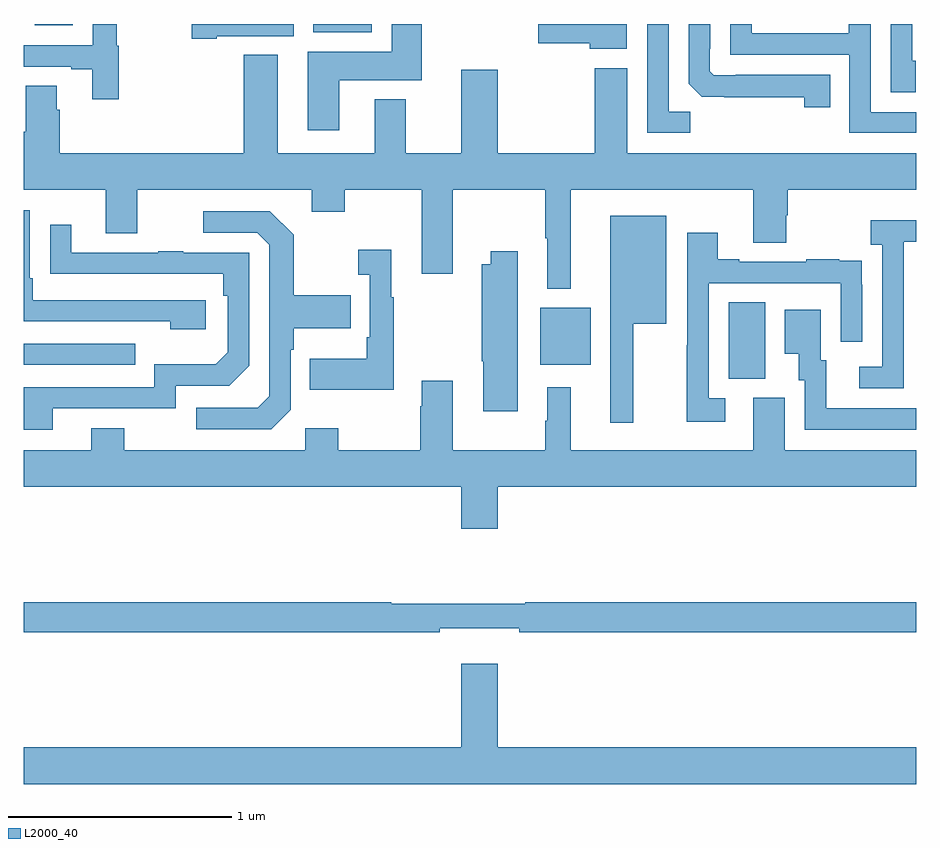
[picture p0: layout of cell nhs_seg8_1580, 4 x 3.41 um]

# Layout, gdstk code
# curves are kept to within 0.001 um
import gdstk
lib = gdstk.Library(unit=1e-6, precision=1e-09)
def R(c, l, rs):  # rectangles x0, y0, x1, y1
    for r in rs: c.add(gdstk.rectangle(r[:2], r[2:], *l))
def P(c, l, *ps):  # polygons
    for p in ps: c.add(gdstk.Polygon(p, *l))
L2000_40 = (2000, 40)

nhs_seg8_1580 = lib.new_cell('nhs_seg8_1580')
R(nhs_seg8_1580, L2000_40, [(214.16,1126.309,214.324,1126.652), (211,1126.371,211.499,1126.467), (213.314,1126.373,213.541,1126.627), (212.297,1127.864,212.56,1127.9), (211.049,1127.894,211.219,1127.9)])
P(nhs_seg8_1580, L2000_40, [(212.413,1127.648),(212.783,1127.648),(212.783,1127.9),(212.648,1127.9),(212.648,1127.776),(212.273,1127.776),(212.273,1127.424),(212.413,1127.424)],
  [(214.998,1127.736),(214.983,1127.736),(214.983,1127.9),(214.887,1127.9),(214.887,1127.593),(214.998,1127.593)],
  [(213.703,1127.9),(213.306,1127.9),(213.306,1127.813),(213.536,1127.813),(213.536,1127.789),(213.703,1127.789)],
  [(211.864,1127.846),(212.209,1127.846),(212.209,1127.9),(211.752,1127.9),(211.752,1127.834),(211.864,1127.834)],
  [(215,1127.505),(214.797,1127.505),(214.797,1127.9),(214.699,1127.9),(214.699,1127.859),(214.263,1127.859),(214.263,1127.9),(214.167,1127.9),(214.167,1127.763),(214.701,1127.763),(214.701,1127.412),(215,1127.412)],
  [(213.987,1127.507),(213.891,1127.507),(213.891,1127.9),(213.795,1127.9),(213.795,1127.412),(213.987,1127.412)],
  [(211.424,1127.802),(211.417,1127.802),(211.417,1127.9),(211.308,1127.9),(211.308,1127.805),(211,1127.805),(211,1127.709),(211.211,1127.709),(211.211,1127.697),(211.307,1127.697),(211.307,1127.562),(211.424,1127.562)],
  [(214.616,1127.673),(214.192,1127.673),(214.192,1127.67),(214.092,1127.67),(214.074,1127.688),(214.074,1127.788),(214.077,1127.788),(214.077,1127.9),(213.981,1127.9),(213.981,1127.632),(214.04,1127.573),(214.498,1127.572),(214.498,1127.526),(214.616,1127.526)],
  [(213.559,1127.701),(213.559,1127.32),(213.124,1127.32),(213.124,1127.695),(212.96,1127.695),(212.96,1127.32),(212.713,1127.32),(212.713,1127.563),(212.573,1127.563),(212.573,1127.32),(212.137,1127.32),(212.137,1127.761),(211.985,1127.761),(211.985,1127.32),(211.16,1127.32),(211.16,1127.516),(211.147,1127.516),(211.147,1127.624),(211.007,1127.624),(211.007,1127.416),(211,1127.416),(211,1127.156),(211.367,1127.156),(211.367,1126.962),(211.507,1126.962),(211.507,1127.156),(212.291,1127.156),(212.291,1127.057),(212.439,1127.057),(212.439,1127.156),(212.783,1127.156),(212.783,1126.779),(212.923,1126.779),(212.923,1127.156),(213.337,1127.156),(213.337,1126.94),(213.347,1126.94),(213.347,1126.712),(213.451,1126.712),(213.451,1127.156),(214.271,1127.156),(214.271,1126.918),(214.419,1126.918),(214.419,1127.043),(214.424,1127.043),(214.424,1127.156),(215,1127.156),(215,1127.32),(213.706,1127.32),(213.706,1127.701)],
  [(211.816,1126.662),(211.039,1126.662),(211.039,1126.759),(211.026,1126.759),(211.026,1127.064),(211,1127.064),(211,1126.566),(211.655,1126.566),(211.655,1126.532),(211.816,1126.532)],
  [(212.196,1126.17),(212.196,1126.439),(212.209,1126.439),(212.209,1126.535),(212.465,1126.535),(212.465,1126.683),(212.209,1126.683),(212.209,1126.955),(212.103,1127.061),(211.803,1127.061),(211.803,1126.965),(212.046,1126.965),(212.1,1126.911),(212.1,1126.23),(212.049,1126.179),(211.773,1126.179),(211.773,1126.083),(212.109,1126.083)],
  [(213.733,1126.556),(213.88,1126.556),(213.88,1127.041),(213.629,1127.041),(213.629,1126.113),(213.733,1126.113)],
  [(214.944,1126.723),(214.945,1126.723),(214.945,1126.923),(215,1126.923),(215,1127.02),(214.797,1127.02),(214.797,1126.91),(214.848,1126.91),(214.848,1126.362),(214.746,1126.362),(214.746,1126.266),(214.944,1126.266)],
  [(211.129,1126.176),(211.68,1126.176),(211.68,1126.278),(211.92,1126.278),(212.01,1126.368),(212.01,1126.875),(211.715,1126.875),(211.715,1126.88),(211.603,1126.88),(211.603,1126.875),(211.213,1126.875),(211.213,1126.999),(211.117,1126.999),(211.117,1126.78),(211.894,1126.779),(211.894,1126.682),(211.914,1126.682),(211.914,1126.428),(211.861,1126.375),(211.584,1126.375),(211.584,1126.272),(211,1126.272),(211,1126.08),(211.129,1126.08)],
  [(214.144,1126.221),(214.071,1126.221),(214.071,1126.737),(214.662,1126.737),(214.662,1126.476),(214.758,1126.476),(214.758,1126.73),(214.757,1126.73),(214.757,1126.839),(214.655,1126.839),(214.655,1126.846),(214.507,1126.846),(214.507,1126.833),(214.207,1126.833),(214.207,1126.846),(214.111,1126.846),(214.111,1126.963),(213.975,1126.963),(213.975,1126.46),(213.973,1126.46),(213.973,1126.116),(214.144,1126.116)],
  [(212.659,1126.675),(212.647,1126.675),(212.647,1126.888),(212.499,1126.888),(212.499,1126.775),(212.55,1126.775),(212.55,1126.495),(212.538,1126.495),(212.538,1126.399),(212.281,1126.399),(212.281,1126.259),(212.659,1126.259)],
  [(213.214,1126.882),(213.092,1126.882),(213.092,1126.822),(213.052,1126.822),(213.052,1126.387),(213.059,1126.387),(213.059,1126.164),(213.214,1126.164)],
  [(215,1126.176),(214.597,1126.176),(214.597,1126.392),(214.573,1126.392),(214.573,1126.618),(214.412,1126.618),(214.412,1126.421),(214.475,1126.421),(214.475,1126.302),(214.5,1126.302),(214.5,1126.08),(215,1126.08)],
  [(213.124,1125.824),(215,1125.824),(215,1125.988),(214.411,1125.988),(214.411,1126.224),(214.271,1126.224),(214.271,1125.988),(213.451,1125.988),(213.451,1126.27),(213.347,1126.27),(213.347,1126.121),(213.337,1126.121),(213.337,1125.988),(212.923,1125.988),(212.923,1126.3),(212.783,1126.3),(212.783,1126.187),(212.776,1126.187),(212.776,1125.988),(212.409,1125.988),(212.409,1126.087),(212.262,1126.087),(212.262,1125.988),(211.449,1125.988),(211.449,1126.087),(211.301,1126.087),(211.301,1125.988),(211,1125.988),(211,1125.824),(212.96,1125.824),(212.96,1125.636),(213.124,1125.636)],
  [(212.864,1125.191),(213.22,1125.191),(213.22,1125.172),(215,1125.172),(215,1125.308),(213.247,1125.308),(213.247,1125.301),(212.647,1125.301),(212.647,1125.308),(211,1125.308),(211,1125.172),(212.864,1125.172)],
  [(215,1124.656),(213.124,1124.656),(213.124,1125.031),(212.96,1125.031),(212.96,1124.656),(211,1124.656),(211,1124.492),(215,1124.492)])

lib.write_gds('nhs_seg8_1580.gds')
